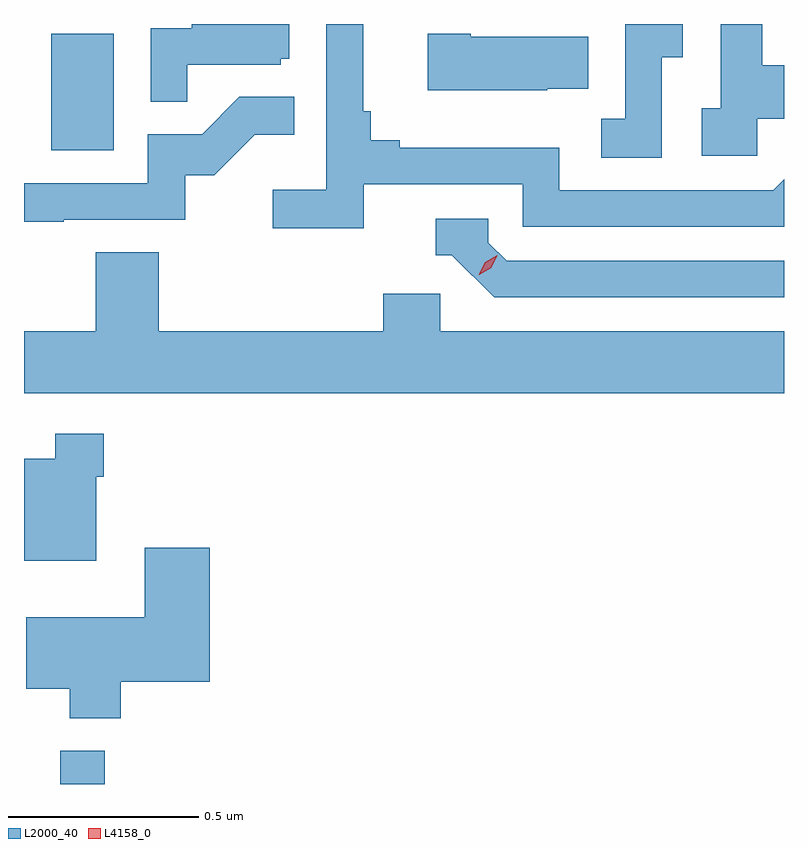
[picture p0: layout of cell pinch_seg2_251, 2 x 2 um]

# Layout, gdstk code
import gdstk
lib = gdstk.Library(unit=1e-6, precision=1e-09)
def R(c, l, rs):  # rectangles x0, y0, x1, y1
    for r in rs: c.add(gdstk.rectangle(r[:2], r[2:], *l))
def P(c, l, *ps):  # polygons
    for p in ps: c.add(gdstk.Polygon(p, *l))
L2000_40 = (2000, 40)
L4158_0 = (4158, 0)

pinch_seg2_251 = lib.new_cell('pinch_seg2_251')
R(pinch_seg2_251, L2000_40, [(926.36,657.264,926.477,657.352), (926.336,658.932,926.5,659.239)])
P(pinch_seg2_251, L2000_40, [(928.194,659.015),(928.264,659.015),(928.264,659.155),(928.207,659.155),(928.207,659.264),(928.098,659.264),(928.098,659.042),(928.047,659.042),(928.047,658.917),(928.194,658.917)],
  [(927.942,659.176),(927.997,659.176),(927.997,659.264),(927.846,659.264),(927.846,659.015),(927.783,659.015),(927.783,658.912),(927.942,658.912)],
  [(927.158,658.842),(927.576,658.842),(927.576,658.731),(928.264,658.731),(928.264,658.855),(928.236,658.827),(927.672,658.827),(927.672,658.939),(927.253,658.939),(927.253,658.958),(927.176,658.958),(927.176,659.035),(927.157,659.035),(927.157,659.264),(927.06,659.264),(927.06,658.828),(926.919,658.828),(926.919,658.726),(927.158,658.726)],
  [(926.693,659.157),(926.94,659.157),(926.94,659.172),(926.962,659.172),(926.962,659.264),(926.705,659.264),(926.705,659.253),(926.598,659.253),(926.598,659.059),(926.693,659.059)],
  [(927.641,659.093),(927.749,659.093),(927.749,659.23),(927.439,659.23),(927.439,659.238),(927.327,659.238),(927.327,659.09),(927.641,659.09)],
  [(926.369,658.749),(926.688,658.749),(926.688,658.866),(926.764,658.866),(926.871,658.973),(926.975,658.973),(926.975,659.072),(926.831,659.072),(926.733,658.974),(926.589,658.974),(926.589,658.845),(926.264,658.845),(926.264,658.744),(926.369,658.744)],
  [(928.264,658.641),(927.534,658.641),(927.486,658.689),(927.486,658.752),(927.347,658.752),(927.347,658.656),(927.39,658.656),(927.501,658.545),(928.264,658.545)],
  [(928.264,658.456),(927.36,658.456),(927.36,658.554),(927.209,658.554),(927.209,658.456),(926.618,658.456),(926.618,658.664),(926.453,658.664),(926.453,658.456),(926.264,658.456),(926.264,658.292),(928.264,658.292)],
  [(926.454,658.073),(926.474,658.073),(926.474,658.186),(926.346,658.186),(926.346,658.12),(926.264,658.12),(926.264,657.851),(926.454,657.851)],
  [(926.519,657.533),(926.753,657.533),(926.753,657.886),(926.582,657.886),(926.582,657.703),(926.27,657.703),(926.27,657.515),(926.384,657.515),(926.384,657.437),(926.519,657.437)])
P(pinch_seg2_251, L4158_0, [(927.461,658.604),(927.461,658.604),(927.478,658.637),(927.509,658.656),(927.509,658.656),(927.509,658.656),(927.493,658.623),(927.462,658.604)])

lib.write_gds('pinch_seg2_251.gds')
